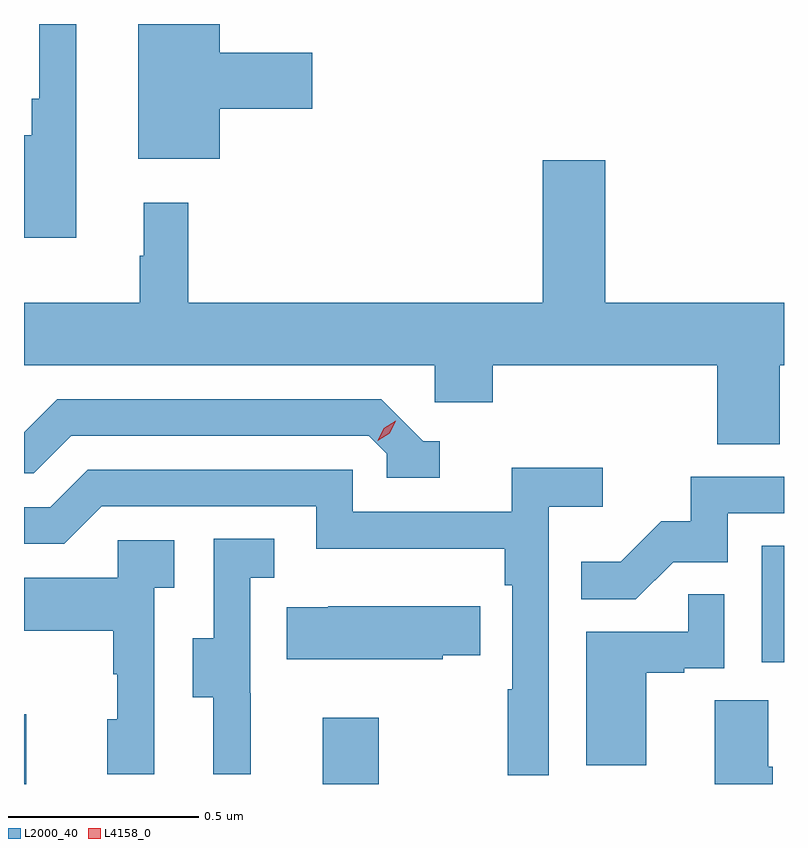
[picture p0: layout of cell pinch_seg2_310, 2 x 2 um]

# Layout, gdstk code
import gdstk
lib = gdstk.Library(unit=1e-6, precision=1e-09)
def R(c, l, rs):  # rectangles x0, y0, x1, y1
    for r in rs: c.add(gdstk.rectangle(r[:2], r[2:], *l))
def P(c, l, *ps):  # polygons
    for p in ps: c.add(gdstk.Polygon(p, *l))
L2000_40 = (2000, 40)
L4158_0 = (4158, 0)

pinch_seg2_310 = lib.new_cell('pinch_seg2_310')
R(pinch_seg2_310, L2000_40, [(930.875,635.878,930.881,636.061), (931.661,635.878,931.809,636.052), (932.816,636.198,932.875,636.505)])
P(pinch_seg2_310, L2000_40, [(931.39,637.655),(931.633,637.655),(931.633,637.802),(931.39,637.802),(931.39,637.878),(931.175,637.878),(931.175,637.523),(931.39,637.523)],
  [(931.012,637.878),(930.915,637.878),(930.915,637.681),(930.895,637.681),(930.895,637.585),(930.875,637.585),(930.875,637.316),(931.012,637.316)],
  [(932.864,636.98),(932.875,636.98),(932.875,637.144),(932.404,637.144),(932.404,637.519),(932.24,637.519),(932.24,637.144),(931.307,637.144),(931.307,637.408),(931.19,637.408),(931.19,637.268),(931.179,637.268),(931.179,637.144),(930.875,637.144),(930.875,636.98),(931.956,636.98),(931.956,636.882),(932.108,636.882),(932.108,636.98),(932.699,636.98),(932.699,636.772),(932.864,636.772)],
  [(931.969,636.78),(931.926,636.78),(931.815,636.891),(930.962,636.891),(930.875,636.804),(930.875,636.696),(930.9,636.696),(930.999,636.795),(931.782,636.795),(931.83,636.747),(931.83,636.684),(931.969,636.684)],
  [(932.256,636.608),(932.398,636.608),(932.398,636.71),(932.159,636.71),(932.159,636.594),(931.74,636.594),(931.74,636.705),(931.043,636.705),(930.944,636.606),(930.875,636.606),(930.875,636.51),(930.981,636.51),(931.08,636.609),(931.644,636.609),(931.644,636.497),(932.14,636.497),(932.14,636.401),(932.16,636.401),(932.16,636.128),(932.148,636.128),(932.148,635.901),(932.256,635.901)],
  [(932.583,636.462),(932.727,636.462),(932.727,636.591),(932.875,636.591),(932.875,636.687),(932.629,636.687),(932.629,636.57),(932.552,636.57),(932.445,636.463),(932.341,636.463),(932.341,636.364),(932.485,636.364)],
  [(931.472,636.117),(931.47,636.117),(931.47,636.421),(931.534,636.421),(931.534,636.524),(931.374,636.524),(931.374,636.261),(931.319,636.261),(931.319,636.106),(931.373,636.106),(931.373,635.904),(931.472,635.904)],
  [(931.218,636.395),(931.27,636.395),(931.27,636.519),(931.122,636.519),(931.122,636.421),(930.875,636.421),(930.875,636.281),(931.11,636.281),(931.11,636.167),(931.12,636.167),(931.12,636.048),(931.094,636.048),(931.094,635.904),(931.218,635.904)],
  [(932.512,636.171),(932.612,636.171),(932.612,636.183),(932.718,636.183),(932.718,636.377),(932.623,636.377),(932.623,636.279),(932.354,636.279),(932.354,635.928),(932.512,635.928)],
  [(931.977,636.217),(932.075,636.217),(932.075,636.346),(931.675,636.346),(931.675,636.343),(931.567,636.343),(931.567,636.206),(931.977,636.206)],
  [(932.846,635.924),(932.833,635.924),(932.833,636.098),(932.693,636.098),(932.693,635.878),(932.846,635.878)])
P(pinch_seg2_310, L4158_0, [(931.806,636.781),(931.806,636.781),(931.822,636.814),(931.853,636.834),(931.853,636.834),(931.853,636.834),(931.837,636.801),(931.806,636.781)])

lib.write_gds('pinch_seg2_310.gds')
